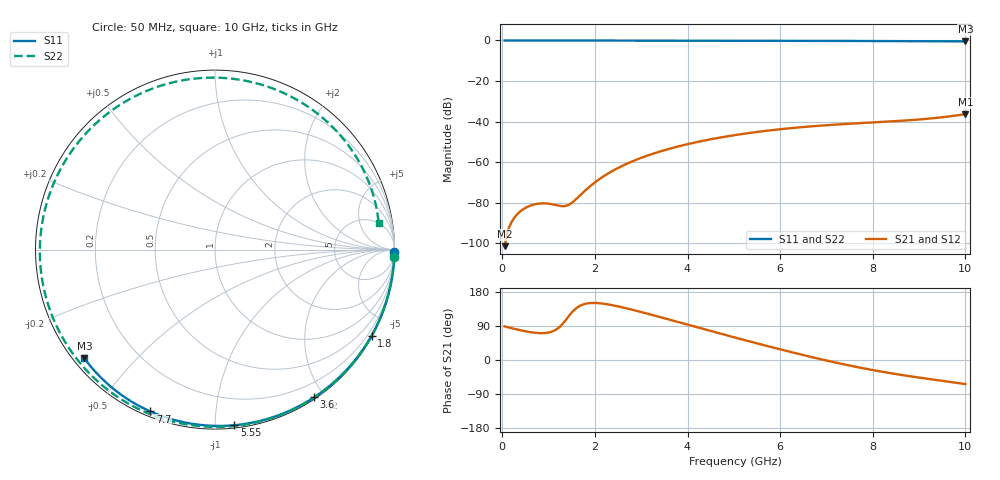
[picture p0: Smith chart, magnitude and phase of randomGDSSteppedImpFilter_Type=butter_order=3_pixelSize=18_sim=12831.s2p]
! freq	dB(S11)	phase(S11)	dB(S12)	phase(S12)
!  dB(S21)	phase(S21)	dB(S22)	phase(S22)
!S-par simulation data
#  GHz  S  DB  R 50
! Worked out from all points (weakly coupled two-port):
!   200 points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, 50 MHz to 10 GHz, reference 50 ohm
!   highest |S21| = -36.31 dB at 10 GHz (marker M1); lowest = -101.4 dB at 50 MHz (marker M2)
!   lowest |S11| = -0.5 dB at 10 GHz (marker M3), VSWR 36.62, Z = 1.54 - j18.1 ohm
!   |S11| at or under -10 dB: nowhere
!   |S22| runs from -0.7 to 0.0 dB; largest |S21 - S12| = 0
!   S11 on the Smith chart (normalised r, x): 50 MHz: open; 1.8 GHz: 0.03, -3.90; 3.6 GHz: 0.02, -1.88; 5.55 GHz: 0.02, -1.12; 7.7 GHz: 0.02, -0.68; 10 GHz: 0.03, -0.36
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0.05  -0.00 -0.8  -101.40 88.6  -101.40 88.6  -0.00 -2.3
0.35  -0.01 -5.7  -85.04 79.7  -85.04 79.7  -0.02 -16.1
0.7  -0.01 -11.3  -80.78 71.9  -80.78 71.9  -0.04 -32.0
1.1  -0.02 -17.7  -80.86 76.4  -80.86 76.4  -0.06 -49.6
1.5  -0.03 -24.0  -80.07 125.3  -80.07 125.3  -0.08 -66.6
1.75  -0.04 -28.0  -74.83 146.8  -74.83 146.8  -0.09 -76.8
1.8  -0.04 -28.7  -73.77 148.5  -73.77 148.5  -0.09 -78.8
2.1  -0.04 -33.4  -68.29 149.8  -68.29 149.8  -0.11 -90.6
2.45  -0.05 -38.8  -63.44 142.8  -63.44 142.8  -0.12 -103.8
2.9  -0.06 -45.7  -58.74 129.8  -58.74 129.8  -0.14 -119.9
3.4  -0.07 -53.2  -54.77 113.5  -54.77 113.5  -0.15 -137.0
3.6  -0.08 -56.1  -53.44 106.8  -53.44 106.8  -0.16 -143.6
4.3  -0.09 -66.3  -49.61 83.2  -49.61 83.2  -0.19 -166.0
5.05  -0.12 -76.9  -46.55 58.4  -46.55 58.4  -0.23 170.8
5.55  -0.14 -83.7  -44.95 42.3  -44.95 42.3  -0.26 155.4
6.1  -0.16 -91.1  -43.52 25.0  -43.52 25.0  -0.29 138.4
6.7  -0.19 -99.0  -42.29 7.1  -42.29 7.1  -0.32 119.5
7.2  -0.22 -105.4  -41.48 -6.8  -41.48 -6.8  -0.35 103.4
7.7  -0.26 -111.8  -40.80 -19.6  -40.80 -19.6  -0.38 87.0
8.35  -0.31 -119.9  -39.97 -34.1  -39.97 -34.1  -0.42 65.2
9.25  -0.39 -131.0  -38.46 -50.7  -38.46 -50.7  -0.52 34.8
10  -0.47 -140.2  -36.31 -63.5  -36.31 -63.5  -0.69 9.4
